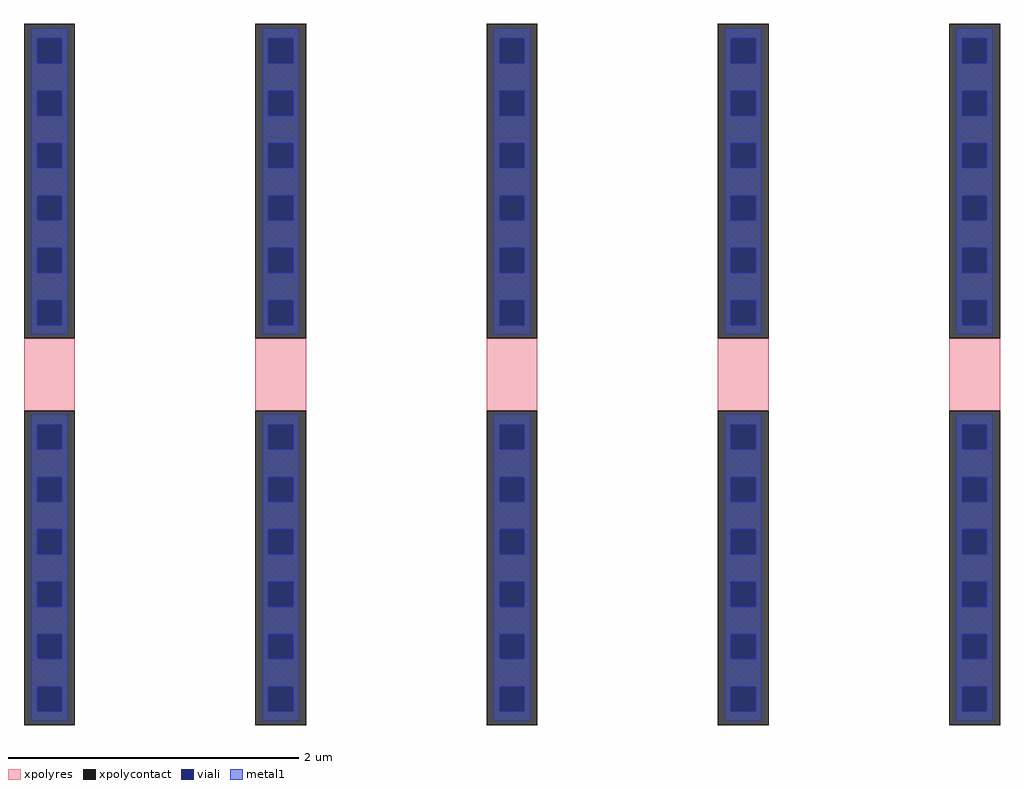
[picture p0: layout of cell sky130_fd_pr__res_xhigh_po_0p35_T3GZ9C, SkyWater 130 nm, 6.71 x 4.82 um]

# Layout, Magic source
magic
tech sky130A
magscale 1 2
<< xpolycontact >>
rect -671 50 -601 482
rect -671 -482 -601 -50
rect -353 50 -283 482
rect -353 -482 -283 -50
rect -35 50 35 482
rect -35 -482 35 -50
rect 283 50 353 482
rect 283 -482 353 -50
rect 601 50 671 482
rect 601 -482 671 -50
<< xpolyres >>
rect -671 -50 -601 50
rect -353 -50 -283 50
rect -35 -50 35 50
rect 283 -50 353 50
rect 601 -50 671 50
<< viali >>
rect -653 428 -619 462
rect -653 356 -619 390
rect -653 284 -619 318
rect -653 212 -619 246
rect -653 140 -619 174
rect -653 68 -619 102
rect -335 428 -301 462
rect -335 356 -301 390
rect -335 284 -301 318
rect -335 212 -301 246
rect -335 140 -301 174
rect -335 68 -301 102
rect -17 428 17 462
rect -17 356 17 390
rect -17 284 17 318
rect -17 212 17 246
rect -17 140 17 174
rect -17 68 17 102
rect 301 428 335 462
rect 301 356 335 390
rect 301 284 335 318
rect 301 212 335 246
rect 301 140 335 174
rect 301 68 335 102
rect 619 428 653 462
rect 619 356 653 390
rect 619 284 653 318
rect 619 212 653 246
rect 619 140 653 174
rect 619 68 653 102
rect -653 -103 -619 -69
rect -653 -175 -619 -141
rect -653 -247 -619 -213
rect -653 -319 -619 -285
rect -653 -391 -619 -357
rect -653 -463 -619 -429
rect -335 -103 -301 -69
rect -335 -175 -301 -141
rect -335 -247 -301 -213
rect -335 -319 -301 -285
rect -335 -391 -301 -357
rect -335 -463 -301 -429
rect -17 -103 17 -69
rect -17 -175 17 -141
rect -17 -247 17 -213
rect -17 -319 17 -285
rect -17 -391 17 -357
rect -17 -463 17 -429
rect 301 -103 335 -69
rect 301 -175 335 -141
rect 301 -247 335 -213
rect 301 -319 335 -285
rect 301 -391 335 -357
rect 301 -463 335 -429
rect 619 -103 653 -69
rect 619 -175 653 -141
rect 619 -247 653 -213
rect 619 -319 653 -285
rect 619 -391 653 -357
rect 619 -463 653 -429
<< metal1 >>
rect -661 462 -611 476
rect -661 428 -653 462
rect -619 428 -611 462
rect -661 390 -611 428
rect -661 356 -653 390
rect -619 356 -611 390
rect -661 318 -611 356
rect -661 284 -653 318
rect -619 284 -611 318
rect -661 246 -611 284
rect -661 212 -653 246
rect -619 212 -611 246
rect -661 174 -611 212
rect -661 140 -653 174
rect -619 140 -611 174
rect -661 102 -611 140
rect -661 68 -653 102
rect -619 68 -611 102
rect -661 55 -611 68
rect -343 462 -293 476
rect -343 428 -335 462
rect -301 428 -293 462
rect -343 390 -293 428
rect -343 356 -335 390
rect -301 356 -293 390
rect -343 318 -293 356
rect -343 284 -335 318
rect -301 284 -293 318
rect -343 246 -293 284
rect -343 212 -335 246
rect -301 212 -293 246
rect -343 174 -293 212
rect -343 140 -335 174
rect -301 140 -293 174
rect -343 102 -293 140
rect -343 68 -335 102
rect -301 68 -293 102
rect -343 55 -293 68
rect -25 462 25 476
rect -25 428 -17 462
rect 17 428 25 462
rect -25 390 25 428
rect -25 356 -17 390
rect 17 356 25 390
rect -25 318 25 356
rect -25 284 -17 318
rect 17 284 25 318
rect -25 246 25 284
rect -25 212 -17 246
rect 17 212 25 246
rect -25 174 25 212
rect -25 140 -17 174
rect 17 140 25 174
rect -25 102 25 140
rect -25 68 -17 102
rect 17 68 25 102
rect -25 55 25 68
rect 293 462 343 476
rect 293 428 301 462
rect 335 428 343 462
rect 293 390 343 428
rect 293 356 301 390
rect 335 356 343 390
rect 293 318 343 356
rect 293 284 301 318
rect 335 284 343 318
rect 293 246 343 284
rect 293 212 301 246
rect 335 212 343 246
rect 293 174 343 212
rect 293 140 301 174
rect 335 140 343 174
rect 293 102 343 140
rect 293 68 301 102
rect 335 68 343 102
rect 293 55 343 68
rect 611 462 661 476
rect 611 428 619 462
rect 653 428 661 462
rect 611 390 661 428
rect 611 356 619 390
rect 653 356 661 390
rect 611 318 661 356
rect 611 284 619 318
rect 653 284 661 318
rect 611 246 661 284
rect 611 212 619 246
rect 653 212 661 246
rect 611 174 661 212
rect 611 140 619 174
rect 653 140 661 174
rect 611 102 661 140
rect 611 68 619 102
rect 653 68 661 102
rect 611 55 661 68
rect -661 -69 -611 -55
rect -661 -103 -653 -69
rect -619 -103 -611 -69
rect -661 -141 -611 -103
rect -661 -175 -653 -141
rect -619 -175 -611 -141
rect -661 -213 -611 -175
rect -661 -247 -653 -213
rect -619 -247 -611 -213
rect -661 -285 -611 -247
rect -661 -319 -653 -285
rect -619 -319 -611 -285
rect -661 -357 -611 -319
rect -661 -391 -653 -357
rect -619 -391 -611 -357
rect -661 -429 -611 -391
rect -661 -463 -653 -429
rect -619 -463 -611 -429
rect -661 -476 -611 -463
rect -343 -69 -293 -55
rect -343 -103 -335 -69
rect -301 -103 -293 -69
rect -343 -141 -293 -103
rect -343 -175 -335 -141
rect -301 -175 -293 -141
rect -343 -213 -293 -175
rect -343 -247 -335 -213
rect -301 -247 -293 -213
rect -343 -285 -293 -247
rect -343 -319 -335 -285
rect -301 -319 -293 -285
rect -343 -357 -293 -319
rect -343 -391 -335 -357
rect -301 -391 -293 -357
rect -343 -429 -293 -391
rect -343 -463 -335 -429
rect -301 -463 -293 -429
rect -343 -476 -293 -463
rect -25 -69 25 -55
rect -25 -103 -17 -69
rect 17 -103 25 -69
rect -25 -141 25 -103
rect -25 -175 -17 -141
rect 17 -175 25 -141
rect -25 -213 25 -175
rect -25 -247 -17 -213
rect 17 -247 25 -213
rect -25 -285 25 -247
rect -25 -319 -17 -285
rect 17 -319 25 -285
rect -25 -357 25 -319
rect -25 -391 -17 -357
rect 17 -391 25 -357
rect -25 -429 25 -391
rect -25 -463 -17 -429
rect 17 -463 25 -429
rect -25 -476 25 -463
rect 293 -69 343 -55
rect 293 -103 301 -69
rect 335 -103 343 -69
rect 293 -141 343 -103
rect 293 -175 301 -141
rect 335 -175 343 -141
rect 293 -213 343 -175
rect 293 -247 301 -213
rect 335 -247 343 -213
rect 293 -285 343 -247
rect 293 -319 301 -285
rect 335 -319 343 -285
rect 293 -357 343 -319
rect 293 -391 301 -357
rect 335 -391 343 -357
rect 293 -429 343 -391
rect 293 -463 301 -429
rect 335 -463 343 -429
rect 293 -476 343 -463
rect 611 -69 661 -55
rect 611 -103 619 -69
rect 653 -103 661 -69
rect 611 -141 661 -103
rect 611 -175 619 -141
rect 653 -175 661 -141
rect 611 -213 661 -175
rect 611 -247 619 -213
rect 653 -247 661 -213
rect 611 -285 661 -247
rect 611 -319 619 -285
rect 653 -319 661 -285
rect 611 -357 661 -319
rect 611 -391 619 -357
rect 653 -391 661 -357
rect 611 -429 661 -391
rect 611 -463 619 -429
rect 653 -463 661 -429
rect 611 -476 661 -463
<< end >>
